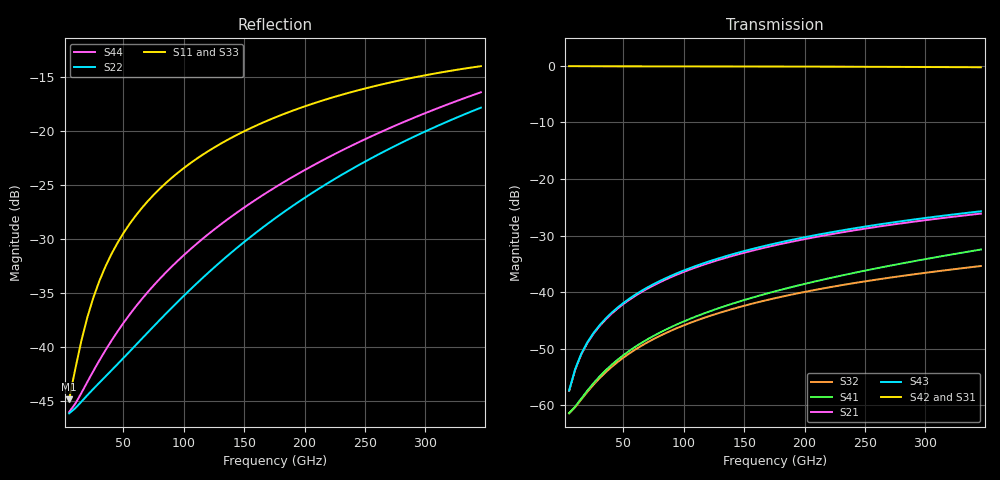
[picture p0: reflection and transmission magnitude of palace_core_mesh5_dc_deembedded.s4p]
! Created with skrf 1.9.0 (http://scikit-rf.org).
# GHz S DB R 50.0
!freq dBS11 angS11 dBS12 angS12 dBS13 angS13
! dBS14 angS14
! dBS21 angS21 dBS22 angS22 dBS23 angS23
! dBS24 angS24
! dBS31 angS31 dBS32 angS32 dBS33 angS33
! dBS34 angS34
! dBS41 angS41 dBS42 angS42 dBS43 angS43
! dBS44 angS44
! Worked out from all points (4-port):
!   69 points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, 5.014 GHz to 346 GHz, reference 50 ohm
!   strongest paths, dB at 5.014 GHz, 90.26 GHz, 175.5 GHz, 260.8 GHz, 346 GHz:
!     S42: 0.0, -0.1, -0.1, -0.2, -0.2
!     S31: 0.0, -0.1, -0.2, -0.3, -0.4
!     S43: -57.4, -37.0, -31.4, -28.1, -25.7
!     S21: -57.5, -37.3, -31.7, -28.4, -26.1
!     S41: -61.4, -46.1, -39.9, -35.8, -32.5
!     S32: -61.4, -46.8, -41.1, -37.8, -35.4
!   lowest |S11| = -44.9 dB at 5.014 GHz (marker M1), VSWR 1.01, Z = 50.5 - j0.289 ohm
!   |S11| at or under -10 dB: start of sweep to end of sweep
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5.014493  -44.86 -30.1  -57.48 43.3  -0.05 -0.6  -61.42 171.2
          -57.48 43.3  -46.15 -4.0  -61.45 171.2  -0.05 -0.7
          -0.05 -0.6  -61.45 171.2  -44.85 -30.0  -57.41 44.6
          -61.42 171.2  -0.05 -0.7  -57.41 44.6  -46.03 -3.9
15.04348  -39.49 -59.1  -51.04 62.7  -0.06 -1.7  -58.85 151.4
          -51.04 62.7  -45.10 -15.8  -59.00 151.0  -0.06 -2.1
          -0.06 -1.7  -59.00 151.0  -39.46 -59.2  -50.93 65.8
          -58.85 151.4  -0.06 -2.1  -50.93 65.8  -44.30 -15.0
35.10145  -32.55 -76.5  -44.89 68.3  -0.07 -3.8  -53.87 123.2
          -44.89 68.3  -42.74 -45.6  -54.22 120.8  -0.07 -4.8
          -0.07 -3.8  -54.22 120.8  -32.52 -76.7  -44.72 75.1
          -53.87 123.2  -0.07 -4.8  -44.72 75.1  -40.31 -35.1
60.17391  -27.83 -85.1  -40.62 67.4  -0.08 -6.5  -49.63 105.9
          -40.62 67.4  -39.83 -76.8  -50.12 100.8  -0.08 -8.1
          -0.08 -6.5  -50.12 100.8  -27.79 -85.4  -40.41 78.8
          -49.63 105.9  -0.08 -8.1  -40.41 78.8  -36.27 -47.4
95.27536  -23.84 -92.1  -36.83 62.5  -0.11 -10.2  -45.63 92.5
          -36.83 62.5  -35.78 -108.3  -46.29 84.0  -0.09 -12.8
          -0.11 -10.2  -46.29 84.0  -23.79 -92.6  -36.59 80.2
          -45.63 92.5  -0.09 -12.8  -36.59 80.2  -31.99 -54.3
205.5942  -17.50 -106.6  -30.41 40.9  -0.20 -21.8  -38.28 66.9
          -30.41 40.9  -25.78 -161.9  -39.75 50.0  -0.13 -27.6
          -0.20 -21.8  -39.75 50.0  -17.38 -107.6  -30.07 78.5
          -38.28 66.9  -0.13 -27.6  -30.07 78.5  -23.27 -62.0
346  -13.99 -122.3  -26.13 9.5  -0.36 -36.2  -32.48 39.6
     -26.13 9.5  -17.83 161.3  -35.40 18.1  -0.25 -46.8
     -0.36 -36.2  -35.40 18.1  -13.74 -122.7  -25.72 74.4
     -32.48 39.6  -0.25 -46.8  -25.72 74.4  -16.40 -72.5
